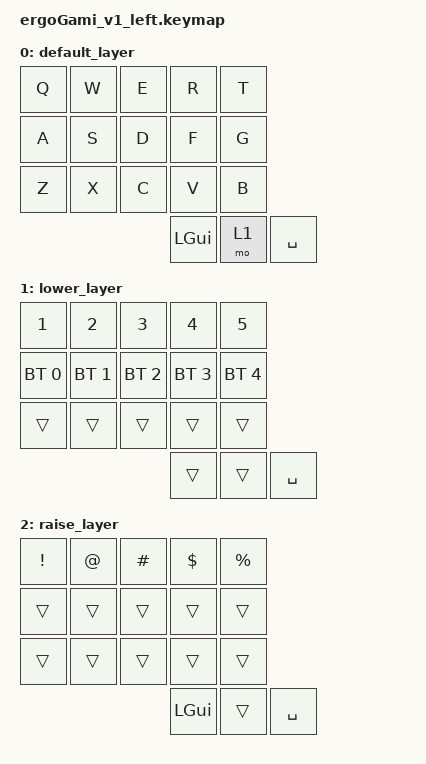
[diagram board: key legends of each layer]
/*
 * Copyright (c) 2020 The ZMK Contributors
 *
 * SPDX-License-Identifier: MIT
 */

#include <behaviors.dtsi>
#include <dt-bindings/zmk/keys.h>
#include <dt-bindings/zmk/bt.h>

/ {
        keymap {
                compatible = "zmk,keymap";

                default_layer {
// -----------------------------------------------------------------------------------------
// |  Q  |  W  |  E  |  R  |  T  |   |  Y  |  U   |  I  |  O  |  P  | 
// |  A  |  S  |  D  |  F  |  G  |   |  H  |  J   |  K  |  L  |  ;  | 
// |  Z  |  X  |  C  |  V  |  B  |   |  N  |  M   |  ,  |  .  |  /  | 
//             | GUI | LWR | SPC |   | ENT | RSE  | ALT | 
                        bindings = <
                                &kp Q &kp W &kp E &kp R    &kp T   
                                &kp A &kp S &kp D &kp F    &kp G   
                                &kp Z &kp X &kp C &kp V    &kp B   
                                                  &kp LGUI &mo 1 &kp SPACE  
                        >;
                };
                lower_layer {
// -----------------------------------------------------------------------------------------
// |  TAB |  1  |  2  |  3  |  4  |  5  |   |  6  |  7  |  8  |  9  |  0  | BSPC |
// | BTCLR| BT1 | BT2 | BT3 | BT4 | BT5 |   | LFT | DWN |  UP | RGT |     |      |
// | SHFT |     |     |     |     |     |   |     |     |     |     |     |      |
//                    | GUI |     | SPC |   | ENT |     | ALT |
                        bindings = <
                                &kp N1       &kp N2       &kp N3       &kp N4       &kp N5       
                                &bt BT_SEL 0 &bt BT_SEL 1 &bt BT_SEL 2 &bt BT_SEL 3 &bt BT_SEL 4 
                                &trans       &trans       &trans       &trans       &trans       
                                                                       &trans       &trans       &kp SPACE 
                        >;
                };

                raise_layer {
// -----------------------------------------------------------------------------------------
// |  TAB |  !  |  @  |  #  |  $  |  %  |   |  ^  |  &  |  *  |  (  |  )  | BSPC |
// | CTRL |     |     |     |     |     |   |  -  |  =  |  [  |  ]  |  \  |  `   |
// | SHFT |     |     |     |     |     |   |  _  |  +  |  {  |  }  | "|" |  ~   |
//                    | GUI |     | SPC |   | ENT |     | ALT |
                        bindings = <
                                &kp EXCL &kp AT &kp HASH &kp DLLR &kp PRCNT 
                                &trans   &trans &trans   &trans   &trans    
                                &trans   &trans &trans   &trans   &trans    
                                                         &kp LGUI &trans   &kp SPACE 
                        >;
                };
        };
};
